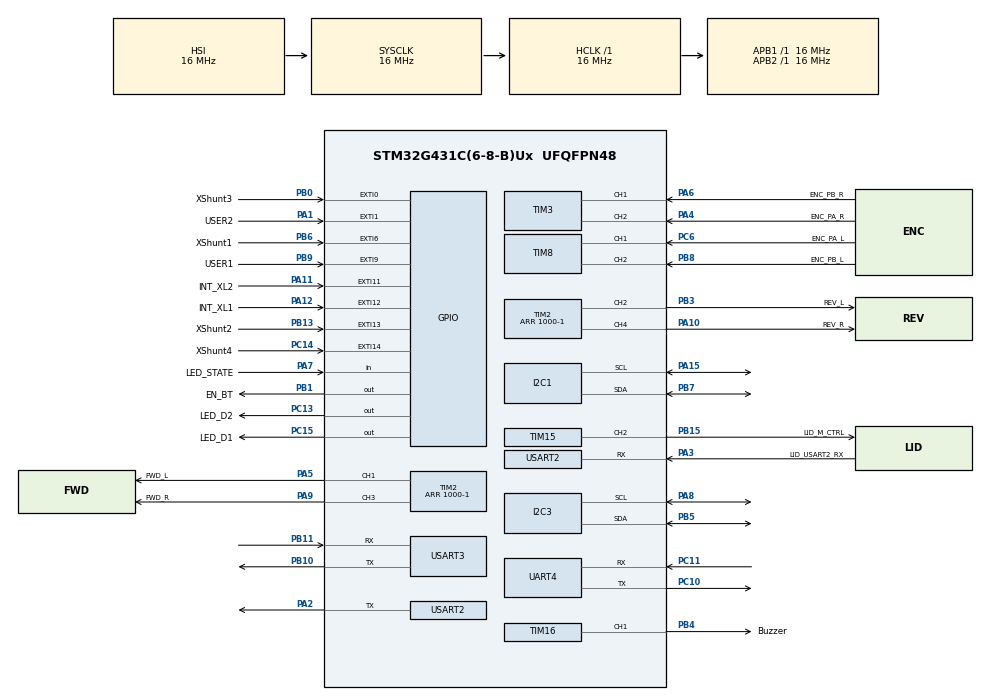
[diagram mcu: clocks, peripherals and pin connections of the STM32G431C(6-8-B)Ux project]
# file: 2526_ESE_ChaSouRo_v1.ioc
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Dma.Request0=USART2_RX
Dma.USART2_RX.0.Direction=DMA_PERIPH_TO_MEMORY
Dma.USART2_RX.0.EventEnable=DISABLE
Dma.USART2_RX.0.Instance=DMA1_Channel1
Dma.USART2_RX.0.MemDataAlignment=DMA_MDATAALIGN_BYTE
Dma.USART2_RX.0.MemInc=DMA_MINC_ENABLE
Dma.USART2_RX.0.Mode=DMA_CIRCULAR
Dma.USART2_RX.0.PeriphDataAlignment=DMA_PDATAALIGN_BYTE
Dma.USART2_RX.0.PeriphInc=DMA_PINC_DISABLE
Dma.USART2_RX.0.Polarity=HAL_DMAMUX_REQ_GEN_RISING
Dma.USART2_RX.0.Priority=DMA_PRIORITY_LOW
Dma.USART2_RX.0.RequestNumber=1
Dma.USART2_RX.0.SignalID=NONE
Dma.USART2_RX.0.SyncEnable=DISABLE
Dma.USART2_RX.0.SyncPolarity=HAL_DMAMUX_SYNC_NO_EVENT
Dma.USART2_RX.0.SyncRequestNumber=1
Dma.USART2_RX.0.SyncSignalID=NONE
FREERTOS.INCLUDE_uxTaskGetStackHighWaterMark=1
FREERTOS.INCLUDE_uxTaskGetStackHighWaterMark2=1
FREERTOS.Tasks01=defaultTask,0,128,StartDefaultTask,Default,NULL,Dynamic,NULL,NULL
FREERTOS.configCHECK_FOR_STACK_OVERFLOW=2
FREERTOS.configGENERATE_RUN_TIME_STATS=1
FREERTOS.configRECORD_STACK_HIGH_ADDRESS=1
FREERTOS.configTOTAL_HEAP_SIZE=3000
FREERTOS.configUSE_MALLOC_FAILED_HOOK=1
FREERTOS.configUSE_STATS_FORMATTING_FUNCTIONS=1
FREERTOS.configUSE_TRACE_FACILITY=1
I2C1.Timing=0x00503D58
I2C3.Timing=0x00503D58
Mcu.Family=STM32G4
Mcu.Name=STM32G431C(6-8-B)Ux
Mcu.Package=UFQFPN48
NVIC.DMA1_Channel1_IRQn=true\:5\:0\:false\:false\:true\:true\:false\:true\:true
NVIC.PriorityGroup=NVIC_PRIORITYGROUP_4
NVIC.TIM1_TRG_COM_TIM17_IRQn=true\:5\:0\:true\:false\:true\:true\:true\:true\:true
NVIC.TIM6_DAC_IRQn=true\:15\:0\:true\:false\:true\:false\:false\:true\:true
NVIC.TimeBase=TIM6_DAC_IRQn
NVIC.TimeBaseIP=TIM6
PA1.GPIO_Label=USER2
PA1.Signal=GPXTI1
PA10.GPIO_Label=REV_R
PA10.Signal=S_TIM2_CH4
PA11.GPIO_Label=INT_XL2
PA11.Signal=GPXTI11
PA12.GPIO_Label=INT_XL1
PA12.Signal=GPXTI12
PA13.Mode=Serial_Wire
PA13.Signal=SYS_JTMS-SWDIO
PA14.Mode=Serial_Wire
PA14.Signal=SYS_JTCK-SWCLK
PA15.Mode=I2C
PA15.Signal=I2C1_SCL
PA2.Mode=Asynchronous
PA2.Signal=USART2_TX
PA3.GPIO_Label=LID_USART2_RX
PA3.Mode=Asynchronous
PA3.Signal=USART2_RX
PA4.GPIO_Label=ENC_PA_R
PA4.Signal=S_TIM3_CH2
PA5.GPIO_Label=FWD_L
PA5.Signal=S_TIM2_CH1
PA6.GPIO_Label=ENC_PB_R
PA6.Signal=S_TIM3_CH1
PA7.GPIO_Label=LED_STATE
PA7.Signal=GPIO_Input
PA8.Mode=I2C
PA8.Signal=I2C3_SCL
PA9.GPIO_Label=FWD_R
PA9.Signal=S_TIM2_CH3
PB0.GPIO_Label=XShunt3
PB0.Signal=GPXTI0
PB1.GPIO_Label=EN_BT
PB1.Signal=GPIO_Output
PB10.Mode=Asynchronous
PB10.Signal=USART3_TX
PB11.Mode=Asynchronous
PB11.Signal=USART3_RX
PB13.GPIO_Label=XShunt2
PB13.Signal=GPXTI13
PB15.GPIO_Label=LID_M_CTRL
PB15.Signal=S_TIM15_CH2
PB3.GPIO_Label=REV_L
PB3.Signal=S_TIM2_CH2
PB4.GPIO_Label=Buzzer
PB4.Signal=S_TIM16_CH1
PB5.Mode=I2C
PB5.Signal=I2C3_SDA
PB6.GPIO_Label=XShunt1
PB6.Signal=GPXTI6
PB7.Mode=I2C
PB7.Signal=I2C1_SDA
PB8-BOOT0.GPIO_Label=ENC_PB_L
PB8-BOOT0.Signal=S_TIM8_CH2
PB9.GPIO_Label=USER1
PB9.Signal=GPXTI9
PC10.Mode=Asynchronous
PC10.Signal=UART4_TX
PC11.Mode=Asynchronous
PC11.Signal=UART4_RX
PC13.GPIO_Label=LED_D2
PC13.Signal=GPIO_Output
PC14-OSC32_IN.GPIO_Label=XShunt4
PC14-OSC32_IN.Signal=GPXTI14
PC15-OSC32_OUT.GPIO_Label=LED_D1
PC15-OSC32_OUT.Signal=GPIO_Output
PC6.GPIO_Label=ENC_PA_L
PC6.Signal=S_TIM8_CH1
PF0-OSC_IN.Mode=HSE-External-Oscillator
PF0-OSC_IN.Signal=RCC_OSC_IN
PF1-OSC_OUT.Mode=HSE-External-Oscillator
PF1-OSC_OUT.Signal=RCC_OSC_OUT
ProjectManager.HeapSize=0x200
ProjectManager.StackSize=0x400
ProjectManager.TargetToolchain=STM32CubeIDE
RCC.AHBFreq_Value=16000000
RCC.APB1Freq_Value=16000000
RCC.APB1TimFreq_Value=16000000
RCC.APB2Freq_Value=16000000
RCC.APB2TimFreq_Value=16000000
RCC.CortexFreq_Value=16000000
RCC.EXTERNAL_CLOCK_VALUE=12288000
RCC.HCLKFreq_Value=16000000
RCC.HSE_VALUE=8000000
RCC.HSI48_VALUE=48000000
RCC.HSI_VALUE=16000000
RCC.LSE_VALUE=32768
RCC.SYSCLKFreq_VALUE=16000000
RCC.USBFreq_Value=64000000
RCC.VCOOutputFreq_Value=128000000
SH.S_TIM15_CH2.0=TIM15_CH2,PWM Generation2 CH2
SH.S_TIM16_CH1.0=TIM16_CH1,PWM Generation1 CH1
SH.S_TIM2_CH1.0=TIM2_CH1,PWM Generation1 CH1
SH.S_TIM2_CH2.0=TIM2_CH2,PWM Generation2 CH2
SH.S_TIM2_CH3.0=TIM2_CH3,PWM Generation3 CH3
SH.S_TIM2_CH4.0=TIM2_CH4,PWM Generation4 CH4
SH.S_TIM3_CH1.0=TIM3_CH1,Encoder_Interface
SH.S_TIM3_CH2.0=TIM3_CH2,Encoder_Interface
SH.S_TIM8_CH1.0=TIM8_CH1,Encoder_Interface
SH.S_TIM8_CH2.0=TIM8_CH2,Encoder_Interface
TIM15.Channel-PWM\ Generation2\ CH2=TIM_CHANNEL_2
TIM15.PeriodNoDither=10000-1
TIM15.Prescaler=160-1
TIM16.Channel=TIM_CHANNEL_1
TIM17.PeriodNoDither=10000-1
TIM17.Prescaler=160-1
TIM2.Channel-PWM\ Generation1\ CH1=TIM_CHANNEL_1
TIM2.Channel-PWM\ Generation2\ CH2=TIM_CHANNEL_2
TIM2.Channel-PWM\ Generation3\ CH3=TIM_CHANNEL_3
TIM2.Channel-PWM\ Generation4\ CH4=TIM_CHANNEL_4
TIM2.PeriodNoDither=1000-1
USART2.VirtualMode-Asynchronous=VM_ASYNC
USART3.VirtualMode-Asynchronous=VM_ASYNC
VP_FREERTOS_VS_CMSIS_V1.Mode=CMSIS_V1
VP_SYS_VS_DBSignals.Mode=DisableDeadBatterySignals
VP_SYS_VS_tim6.Mode=TIM6
VP_TIM16_VS_ClockSourceINT.Mode=Enable_Timer
VP_TIM17_VS_ClockSourceINT.Mode=Enable_Timer
board=custom

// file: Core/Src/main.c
/* USER CODE BEGIN Header */
/**
 ******************************************************************************
 * @file           : main.c
 * @brief          : Main program body
 ******************************************************************************
 * @attention
 *
 * Copyright (c) 2025 STMicroelectronics.
 * All rights reserved.
 *
 * This software is licensed under terms that can be found in the LICENSE file
 * in the root directory of this software component.
 * If no LICENSE file comes with this software, it is provided AS-IS.
 *
 ******************************************************************************
 */
/* USER CODE END Header */
#include "main.h"
#include "cmsis_os.h"
#include "dma.h"
#include "i2c.h"
#include "tim.h"
#include "usart.h"
#include "gpio.h"

/* USER CODE BEGIN Includes */
#include <stdio.h>
#include "motor.h"
/* USER CODE END Includes */

void SystemClock_Config(void);
void MX_FREERTOS_Init(void);

/* USER CODE BEGIN 0 */
int __io_putchar(int chr){
	HAL_UART_Transmit(&huart2, (uint8_t*) &chr, 1, HAL_MAX_DELAY);
	return chr;
}

//PROTECTION MEMOIRE

void vApplicationMallocFailedHook(void)
{
	printf("Malloc failed !\r\n"); //n'arrive pas à créé une task (pas de place)
	taskDISABLE_INTERRUPTS();
	for( ;; );
}

void vApplicationStackOverflowHook(TaskHandle_t xTask, char *pcTaskName)
{
	printf("Stack overflow in task %s\r\n", pcTaskName); //Stack overflow
	taskDISABLE_INTERRUPTS();
	for( ;; );
}

/* USER CODE END 0 */

int main(void)
{

  /* MCU Configuration--------------------------------------------------------*/

  /* Reset of all peripherals, Initializes the Flash interface and the Systick. */
  HAL_Init();

  /* Configure the system clock */
  SystemClock_Config();

  /* Initialize all configured peripherals */
  MX_GPIO_Init();
  MX_DMA_Init();
  MX_I2C1_Init();
  MX_I2C3_Init();
  MX_TIM2_Init();
  MX_TIM3_Init();
  MX_TIM8_Init();
  MX_UART4_Init();
  MX_USART2_UART_Init();
  MX_USART3_UART_Init();
  MX_TIM16_Init();
  MX_TIM15_Init();
  MX_TIM17_Init();
  /* USER CODE BEGIN 2 */
	//INITS
	Init_motors();
	LIDAR_Init();
	ENC_Init();

	//CREATION DES TASKS
	CreateTaskMotors();
	LIDAR_Tasks_Create();
	ENC_Tasks_Create();

	//LANCE LE SCHEDULER
	vTaskStartScheduler();
  /* USER CODE END 2 */

  /* Call init function for freertos objects (in cmsis_os2.c) */
  MX_FREERTOS_Init();

  /* Start scheduler */
  osKernelStart();

  /* We should never get here as control is now taken by the scheduler */

  /* Infinite loop */
	while (1)
	{

	}
}

void SystemClock_Config(void)
{
  RCC_OscInitTypeDef RCC_OscInitStruct = {0};
  RCC_ClkInitTypeDef RCC_ClkInitStruct = {0};

  /** Configure the main internal regulator output voltage
  */
  HAL_PWREx_ControlVoltageScaling(PWR_REGULATOR_VOLTAGE_SCALE1);

  /** Initializes the RCC Oscillators according to the specified parameters
  * in the RCC_OscInitTypeDef structure.
  */
  RCC_OscInitStruct.OscillatorType = RCC_OSCILLATORTYPE_HSI;
  RCC_OscInitStruct.HSIState = RCC_HSI_ON;
  RCC_OscInitStruct.HSICalibrationValue = RCC_HSICALIBRATION_DEFAULT;
  RCC_OscInitStruct.PLL.PLLState = RCC_PLL_NONE;
  if (HAL_RCC_OscConfig(&RCC_OscInitStruct) != HAL_OK)
  {
    Error_Handler();
  }

  /** Initializes the CPU, AHB and APB buses clocks
  */
  RCC_ClkInitStruct.ClockType = RCC_CLOCKTYPE_HCLK|RCC_CLOCKTYPE_SYSCLK
                              |RCC_CLOCKTYPE_PCLK1|RCC_CLOCKTYPE_PCLK2;
  RCC_ClkInitStruct.SYSCLKSource = RCC_SYSCLKSOURCE_HSI;
  RCC_ClkInitStruct.AHBCLKDivider = RCC_SYSCLK_DIV1;
  RCC_ClkInitStruct.APB1CLKDivider = RCC_HCLK_DIV1;
  RCC_ClkInitStruct.APB2CLKDivider = RCC_HCLK_DIV1;

  if (HAL_RCC_ClockConfig(&RCC_ClkInitStruct, FLASH_LATENCY_0) != HAL_OK)
  {
    Error_Handler();
  }
}

void HAL_TIM_PeriodElapsedCallback(TIM_HandleTypeDef *htim)
{
  if (htim->Instance == TIM6)
  {
    HAL_IncTick();
  }
  /* USER CODE BEGIN Callback 1 */

	//CODE DES CALLBACKS
	enc_HAL_TIM_PeriodElapsedCallback(htim);

  /* USER CODE END Callback 1 */
}

void Error_Handler(void)
{
  /* USER CODE BEGIN Error_Handler_Debug */
	/* User can add his own implementation to report the HAL error return state */
	__disable_irq();
	while (1)
	{
		HAL_GPIO_WritePin(GPIOC, LED_D1_Pin, GPIO_PIN_SET);
		HAL_GPIO_WritePin(GPIOC, LED_D2_Pin, GPIO_PIN_SET);

	}
  /* USER CODE END Error_Handler_Debug */
}

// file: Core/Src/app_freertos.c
/* USER CODE BEGIN Header */
/**
 ******************************************************************************
 * File Name          : app_freertos.c
 * Description        : Code for freertos applications
 ******************************************************************************
 * @attention
 *
 * Copyright (c) 2025 STMicroelectronics.
 * All rights reserved.
 *
 * This software is licensed under terms that can be found in the LICENSE file
 * in the root directory of this software component.
 * If no LICENSE file comes with this software, it is provided AS-IS.
 *
 ******************************************************************************
 */
/* USER CODE END Header */

#include "FreeRTOS.h"
#include "task.h"
#include "main.h"
#include "cmsis_os.h"

osThreadId defaultTaskHandle;

void StartDefaultTask(void const * argument);

void MX_FREERTOS_Init(void); /* (MISRA C 2004 rule 8.1) */

void MX_FREERTOS_Init(void) {

	/* Create the thread(s) */
	/* definition and creation of defaultTask */
	osThreadDef(defaultTask, StartDefaultTask, osPriorityNormal, 0, 128);
	defaultTaskHandle = osThreadCreate(osThread(defaultTask), NULL);

}

void StartDefaultTask(void const * argument)
{
	for(;;)
	{
		osDelay(1);
	}
}
